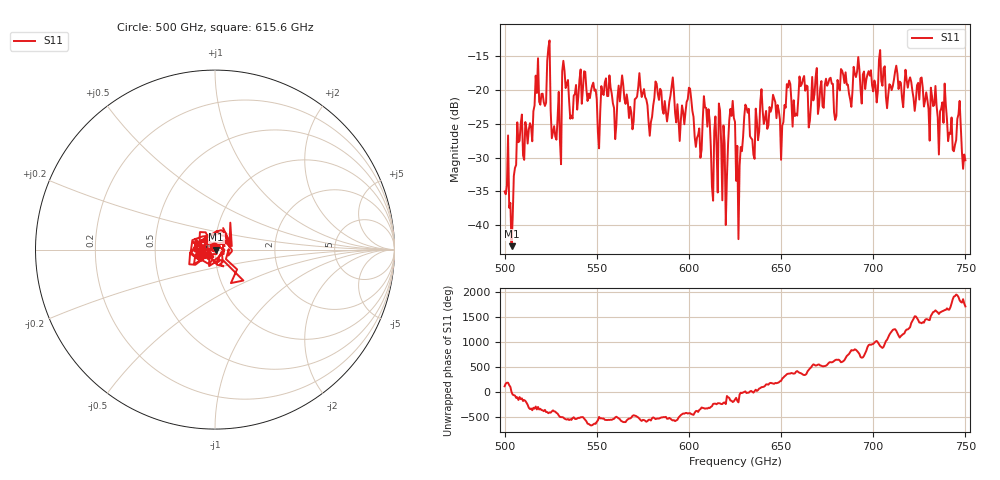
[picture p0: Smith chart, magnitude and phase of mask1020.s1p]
!Created with skrf (http://scikit-rf.org).
# GHz S MA R 50.0
!freq magS11 angS11
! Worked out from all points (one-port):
!   401 points, 500 GHz to 750 GHz, reference 50 ohm
!   lowest |S11| = -43.1 dB at 503.8 GHz (marker M1), VSWR 1.01, Z = 50.7 + j0.0027 ohm
!   |S11| at or under -10 dB: start of sweep to end of sweep
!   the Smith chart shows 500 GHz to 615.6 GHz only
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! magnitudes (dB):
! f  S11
! 500 GHz  -35.0
! 503.8 GHz  -43.1
! 508.1 GHz  -27.5
! 513.8 GHz  -24.9
! 516.9 GHz  -17.8
! 523.8 GHz  -13.7
! 526.9 GHz  -25.3
! 531.2 GHz  -17.2
! 562.5 GHz  -21.7
! 590.6 GHz  -19.4
! 593.8 GHz  -22.1
! 600 GHz  -19.6
! 605.6 GHz  -25.7
! 609.4 GHz  -22.6
! 612.5 GHz  -34.3
! 617.5 GHz  -27.8
! 619.4 GHz  -28.0
! 623.1 GHz  -23.8
! 625 GHz  -24.7
! 626.9 GHz  -42.1
! 631.2 GHz  -22.6
! 634.4 GHz  -27.3
! 640 GHz  -23.0
! 656.2 GHz  -25.4
! 687.5 GHz  -21.4
! 718.8 GHz  -19.6
! 746.2 GHz  -23.6
! 750 GHz  -30.4
